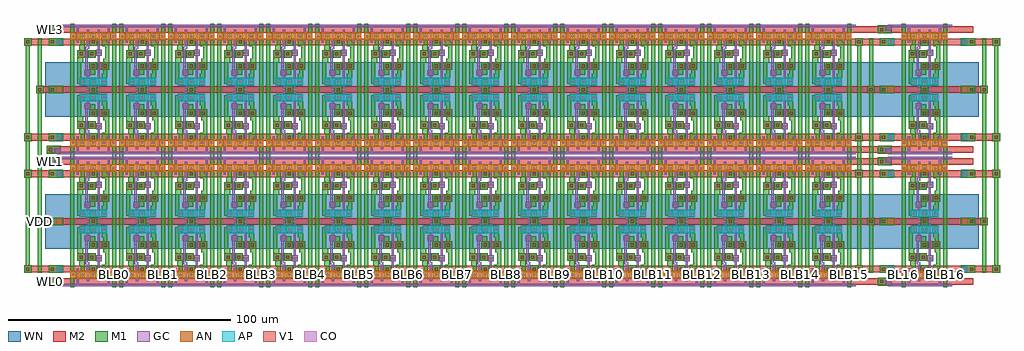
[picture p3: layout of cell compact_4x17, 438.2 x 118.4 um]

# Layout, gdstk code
import gdstk
lib = gdstk.Library(unit=1e-6, precision=1e-07)
def R(c, l, rs):  # rectangles x0, y0, x1, y1
    for r in rs: c.add(gdstk.rectangle(r[:2], r[2:], *l))
def A(c, l, x, y, w, h, nx, ny, dx, dy):  # array of equal rectangles
    R(c, l, [(x+i*dx, y+j*dy, x+i*dx+w, y+j*dy+h) for i in range(nx) for j in range(ny)])
def P(c, l, *ps):  # polygons
    for p in ps: c.add(gdstk.Polygon(p, *l))
AP = (3, 1)
AN = (3, 2)
GC = (8, 1)
CO = (11, 0)
M1 = (13, 0)
V1 = (19, 0)
M2 = (20, 0)
WN = (140, 0)

compact_core = lib.new_cell('compact_core')
R(compact_core, AP, [(3.5,18.7,15.7,22.1)])
R(compact_core, AN, [(-0.7,-1.7,19.9,1.7)])
R(compact_core, GC, [(0,-5.1,22,-4.1), (2.1,-5.1,3.1,2.9), (16.1,-5.1,17.1,2.9), (6.7,-2.9,7.7,5.6), (11.5,-2.9,12.5,23.3), (6.1,4.6,7.7,5.6), (6.1,4.6,7.1,17.9), (10.9,6.1,13.5,8.7), (11.5,6.9,12.7,7.9), (5.7,15.1,8.3,17.7), (6.1,15.9,7.5,16.9), (6.1,16.9,7.7,17.9), (6.7,16.9,7.7,23.3)])
A(compact_core, CO, 4.3, -0.5, 1, 1, 3, 2, 4.8, 20.4)
R(compact_core, CO, [(0.1,-0.5,1.1,0.5), (18.1,-0.5,19.1,0.5), (11.7,6.9,12.7,7.9), (6.5,15.9,7.5,16.9)])
P(compact_core, M1, [(8.3,-1.3),(8.3,0.8),(7.9,0.8),(7.9,4.2),(11.3,4.2),(11.3,0.8),(10.9,0.8),(10.9,-1.3)],
  [(10.9,6.1),(10.9,6.2),(7.3,6.2),(7.3,9.6),(10.7,9.6),(10.7,8.7),(13.5,8.7),(13.5,6.1)],
  [(7.9,11.6),(7.9,15.1),(5.7,15.1),(5.7,17.7),(8.3,17.7),(8.3,17.3),(10.5,17.3),(10.5,15),(11.3,15),(11.3,11.6)],
  [(3.5,-1.3),(3.5,1.3),(3.9,1.3),(3.9,4.1),(3.3,4.1),(3.3,6.2),(2.5,6.2),(2.5,21.3),(3.5,21.3),(3.5,21.7),(6.1,21.7),(6.1,19.1),(4.3,19.1),(4.3,11.9),(5.1,11.9),(5.1,9.6),(5.9,9.6),(5.9,6.2),(5.7,6.2),(5.7,1.3),(6.1,1.3),(6.1,-1.3)],
  [(13.1,-1.3),(13.1,1.3),(13.5,1.3),(13.5,4.5),(14.9,4.5),(14.9,10.1),(14.1,10.1),(14.1,11.6),(13.3,11.6),(13.3,15),(14.1,15),(14.1,16.9),(13.5,16.9),(13.5,19.1),(13.1,19.1),(13.1,21.7),(15.7,21.7),(15.7,18.7),(15.9,18.7),(15.9,15),(16.7,15),(16.7,2.7),(15.7,2.7),(15.7,-1.3)],
  [(-0.7,-5.7),(-0.7,23.9),(1.1,23.9),(1.1,1.3),(1.9,1.3),(1.9,-1.3),(1.1,-1.3),(1.1,-5.7)],
  [(18.1,-5.7),(18.1,-1.3),(17.3,-1.3),(17.3,1.3),(18.1,1.3),(18.1,23.9),(19.9,23.9),(19.9,-5.7)],
  [(8.3,19.1),(8.3,22.2),(7.9,22.2),(7.9,25.6),(11.3,25.6),(11.3,22.2),(10.9,22.2),(10.9,19.1)])
R(compact_core, V1, [(8.9,1.8,10.3,3.2), (3.5,7.2,4.9,8.6), (8.3,7.2,9.7,8.6), (8.9,12.6,10.3,14), (14.3,12.6,15.7,14), (8.9,23.2,10.3,24.6)])
R(compact_core, M2, [(0,-4.5,22,-1.5), (7.9,0.8,11.3,4.2), (0,1,22,4), (2.5,6.2,5.9,9.6), (2.5,6.2,10.7,9.6), (7.3,6.2,10.7,9.6), (7.9,11.6,11.3,15), (7.9,11.6,16.7,15), (13.3,11.6,16.7,15), (7.9,22.2,11.3,25.6), (0,22.4,22,25.4)])
R(compact_core, WN, [(-3.5,11.7,25.5,29.1)])

compact_4x17 = lib.new_cell('compact_4x17')
R(compact_4x17, AP, [(-6.9,6.9,-4.3,9.5), (366.3,6.9,368.9,9.5), (399.5,6.9,402.1,9.5), (-6.9,49.7,-4.3,52.3), (366.3,49.7,368.9,52.3), (399.5,49.7,402.1,52.3), (-6.9,66.1,-4.3,68.7), (366.3,66.1,368.9,68.7), (399.5,66.1,402.1,68.7), (-6.9,108.9,-4.3,111.5), (366.3,108.9,368.9,111.5), (399.5,108.9,402.1,111.5)])
R(compact_4x17, AN, [(-6.9,28.3,-4.3,30.9), (366.3,28.3,368.9,30.9), (399.5,28.3,402.1,30.9), (-6.9,87.5,-4.3,90.1), (366.3,87.5,368.9,90.1), (399.5,87.5,402.1,90.1)])
R(compact_4x17, GC, [(-6.9,0.6,-5.9,2.5), (-6.4,0.6,0,1.6), (366.3,0.6,367.3,2.5), (366.8,0.6,373.2,1.6), (-7.7,0.7,-5.1,3.3), (365.5,0.7,368.1,3.3), (-7.7,55.9,-5.1,58.5), (365.5,55.9,368.1,58.5), (-6.9,56.7,-5.9,58.6), (366.3,56.7,367.3,58.6), (-6.4,57.6,0,58.6), (366.8,57.6,373.2,58.6), (-6.9,59.8,-5.9,61.7), (-6.4,59.8,0,60.8), (366.3,59.8,367.3,61.7), (366.8,59.8,373.2,60.8), (-7.7,59.9,-5.1,62.5), (365.5,59.9,368.1,62.5), (-7.7,115.1,-5.1,117.7), (365.5,115.1,368.1,117.7), (-6.9,115.9,-5.9,117.8), (366.3,115.9,367.3,117.8), (-6.4,116.8,0,117.8), (366.8,116.8,373.2,117.8)])
A(compact_4x17, CO, -6.1, 7.7, 1, 1, 1, 3, 0, 21.4)
A(compact_4x17, CO, 367.1, 7.7, 1, 1, 1, 3, 0, 21.4)
A(compact_4x17, CO, 400.3, 7.7, 1, 1, 1, 3, 0, 21.4)
A(compact_4x17, CO, -6.1, 66.9, 1, 1, 1, 3, 0, 21.4)
A(compact_4x17, CO, 367.1, 66.9, 1, 1, 1, 3, 0, 21.4)
A(compact_4x17, CO, 400.3, 66.9, 1, 1, 1, 3, 0, 21.4)
R(compact_4x17, CO, [(-6.9,1.5,-5.9,2.5), (366.3,1.5,367.3,2.5), (-6.9,56.7,-5.9,57.7), (366.3,56.7,367.3,57.7), (-6.9,60.7,-5.9,61.7), (366.3,60.7,367.3,61.7), (-6.9,115.9,-5.9,116.9), (366.3,115.9,367.3,116.9)])
A(compact_4x17, M1, -10.5, 6.5, 3.4, 3.4, 1, 3, 0, 21.4)
A(compact_4x17, M1, -10.5, 6.5, 6.6, 3.4, 1, 3, 0, 21.4)
A(compact_4x17, M1, 362.7, 6.5, 3.4, 3.4, 1, 3, 0, 21.4)
A(compact_4x17, M1, 362.7, 6.5, 6.6, 3.4, 1, 3, 0, 21.4)
A(compact_4x17, M1, 399.1, 6.5, 6.6, 3.4, 1, 3, 0, 21.4)
A(compact_4x17, M1, 402.3, 6.5, 3.4, 3.4, 1, 3, 0, 21.4)
A(compact_4x17, M1, -6.9, 6.9, 2.6, 2.6, 1, 3, 0, 21.4)
A(compact_4x17, M1, 366.3, 6.9, 2.6, 2.6, 1, 3, 0, 21.4)
A(compact_4x17, M1, 399.5, 6.9, 2.6, 2.6, 1, 3, 0, 21.4)
A(compact_4x17, M1, -10.5, 65.7, 3.4, 3.4, 1, 3, 0, 21.4)
A(compact_4x17, M1, -10.5, 65.7, 6.6, 3.4, 1, 3, 0, 21.4)
A(compact_4x17, M1, 362.7, 65.7, 3.4, 3.4, 1, 3, 0, 21.4)
A(compact_4x17, M1, 362.7, 65.7, 6.6, 3.4, 1, 3, 0, 21.4)
A(compact_4x17, M1, 399.1, 65.7, 6.6, 3.4, 1, 3, 0, 21.4)
A(compact_4x17, M1, 402.3, 65.7, 3.4, 3.4, 1, 3, 0, 21.4)
A(compact_4x17, M1, -6.9, 66.1, 2.6, 2.6, 1, 3, 0, 21.4)
A(compact_4x17, M1, 366.3, 66.1, 2.6, 2.6, 1, 3, 0, 21.4)
A(compact_4x17, M1, 399.5, 66.1, 2.6, 2.6, 1, 3, 0, 21.4)
R(compact_4x17, M1, [(-11.3,0.7,-5.1,4.4), (-7.7,0.7,-5.1,3.3), (361.9,0.7,368.1,4.4), (365.5,0.7,368.1,3.3), (-11.3,1,-7.9,4.4), (361.9,1,365.3,4.4), (-21.5,6.5,-18.1,9.9), (-20.7,6.5,-18.9,111.9), (-15.3,6.5,-13.5,111.9), (351.7,6.5,355.1,9.9), (352.5,6.5,354.3,111.9), (357.9,6.5,359.7,111.9), (408.7,6.5,410.5,111.9), (413.3,6.5,416.7,9.9), (414.1,6.5,415.9,111.9), (-16.1,27.9,-12.7,31.3), (357.1,27.9,360.5,31.3), (407.9,27.9,411.3,31.3), (-21.5,49.3,-18.1,52.7), (351.7,49.3,355.1,52.7), (413.3,49.3,416.7,52.7), (-11.3,54.8,-7.9,58.2), (-11.3,54.8,-5.1,58.5), (361.9,54.8,365.3,58.2), (361.9,54.8,368.1,58.5), (-7.7,55.9,-5.1,58.5), (365.5,55.9,368.1,58.5), (-11.3,59.9,-5.1,63.6), (-7.7,59.9,-5.1,62.5), (361.9,59.9,368.1,63.6), (365.5,59.9,368.1,62.5), (-11.3,60.2,-7.9,63.6), (361.9,60.2,365.3,63.6), (-21.5,65.7,-18.1,69.1), (351.7,65.7,355.1,69.1), (413.3,65.7,416.7,69.1), (-16.1,87.1,-12.7,90.5), (357.1,87.1,360.5,90.5), (407.9,87.1,411.3,90.5), (-21.5,108.5,-18.1,111.9), (351.7,108.5,355.1,111.9), (413.3,108.5,416.7,111.9), (-11.3,114,-7.9,117.4), (-11.3,114,-5.1,117.7), (361.9,114,365.3,117.4), (361.9,114,368.1,117.7), (-7.7,115.1,-5.1,117.7), (365.5,115.1,368.1,117.7)])
A(compact_4x17, V1, -9.5, 7.5, 1.4, 1.4, 1, 3, 0, 21.4)
A(compact_4x17, V1, 363.7, 7.5, 1.4, 1.4, 1, 3, 0, 21.4)
A(compact_4x17, V1, 403.3, 7.5, 1.4, 1.4, 1, 3, 0, 21.4)
A(compact_4x17, V1, -9.5, 66.7, 1.4, 1.4, 1, 3, 0, 21.4)
A(compact_4x17, V1, 363.7, 66.7, 1.4, 1.4, 1, 3, 0, 21.4)
A(compact_4x17, V1, 403.3, 66.7, 1.4, 1.4, 1, 3, 0, 21.4)
R(compact_4x17, V1, [(-10.3,2,-8.9,3.4), (362.9,2,364.3,3.4), (-20.5,7.5,-19.1,8.9), (352.7,7.5,354.1,8.9), (414.3,7.5,415.7,8.9), (-15.1,28.9,-13.7,30.3), (358.1,28.9,359.5,30.3), (408.9,28.9,410.3,30.3), (-20.5,50.3,-19.1,51.7), (352.7,50.3,354.1,51.7), (414.3,50.3,415.7,51.7), (-10.3,55.8,-8.9,57.2), (362.9,55.8,364.3,57.2), (-10.3,61.2,-8.9,62.6), (362.9,61.2,364.3,62.6), (-20.5,66.7,-19.1,68.1), (352.7,66.7,354.1,68.1), (414.3,66.7,415.7,68.1), (-15.1,88.1,-13.7,89.5), (358.1,88.1,359.5,89.5), (408.9,88.1,410.3,89.5), (-20.5,109.5,-19.1,110.9), (352.7,109.5,354.1,110.9), (414.3,109.5,415.7,110.9), (-10.3,115,-8.9,116.4), (362.9,115,364.3,116.4)])
A(compact_4x17, M2, -10.5, 6.5, 3.4, 3.4, 1, 3, 0, 21.4)
A(compact_4x17, M2, 362.7, 6.5, 3.4, 3.4, 1, 3, 0, 21.4)
A(compact_4x17, M2, 402.3, 6.5, 3.4, 3.4, 1, 3, 0, 21.4)
A(compact_4x17, M2, -1.7, 6.7, 398.6, 3, 1, 3, 0, 21.4)
A(compact_4x17, M2, -10.5, 65.7, 3.4, 3.4, 1, 3, 0, 21.4)
A(compact_4x17, M2, 362.7, 65.7, 3.4, 3.4, 1, 3, 0, 21.4)
A(compact_4x17, M2, 402.3, 65.7, 3.4, 3.4, 1, 3, 0, 21.4)
A(compact_4x17, M2, -1.7, 65.9, 398.6, 3, 1, 3, 0, 21.4)
R(compact_4x17, M2, [(-11.3,1,-7.9,4.4), (361.9,1,365.3,4.4), (-9.6,1.2,404.8,4.2), (-21.5,6.5,-18.1,9.9), (351.7,6.5,355.1,9.9), (413.3,6.5,416.7,9.9), (-21.5,6.7,396.9,9.7), (-1.7,6.7,416.7,9.7), (-16.1,27.9,-12.7,31.3), (357.1,27.9,360.5,31.3), (407.9,27.9,411.3,31.3), (-16.1,28.1,396.9,31.1), (-1.7,28.1,411.3,31.1), (-21.5,49.3,-18.1,52.7), (351.7,49.3,355.1,52.7), (413.3,49.3,416.7,52.7), (-21.5,49.5,396.9,52.5), (-1.7,49.5,416.7,52.5), (-11.3,54.8,-7.9,58.2), (361.9,54.8,365.3,58.2), (-9.6,55,404.8,58), (-11.3,60.2,-7.9,63.6), (361.9,60.2,365.3,63.6), (-9.6,60.4,404.8,63.4), (-21.5,65.7,-18.1,69.1), (351.7,65.7,355.1,69.1), (413.3,65.7,416.7,69.1), (-21.5,65.9,396.9,68.9), (-1.7,65.9,416.7,68.9), (-16.1,87.1,-12.7,90.5), (357.1,87.1,360.5,90.5), (407.9,87.1,411.3,90.5), (-16.1,87.3,396.9,90.3), (-1.7,87.3,411.3,90.3), (-21.5,108.5,-18.1,111.9), (351.7,108.5,355.1,111.9), (413.3,108.5,416.7,111.9), (-21.5,108.7,396.9,111.7), (-1.7,108.7,416.7,111.7), (-11.3,114,-7.9,117.4), (361.9,114,365.3,117.4), (-9.6,114.2,404.8,117.2)])
R(compact_4x17, WN, [(-12,17.4,407.2,41.8), (0,17.4,407.2,41.8), (361.2,17.4,407.2,41.8), (-12,76.6,407.2,101), (0,76.6,407.2,101), (361.2,76.6,407.2,101)])
compact_4x17.add(gdstk.Reference(compact_core, (0,5.7)))
compact_4x17.add(gdstk.Reference(compact_core, (22,5.7)))
compact_4x17.add(gdstk.Reference(compact_core, (44,5.7)))
compact_4x17.add(gdstk.Reference(compact_core, (66,5.7)))
compact_4x17.add(gdstk.Reference(compact_core, (88,5.7)))
compact_4x17.add(gdstk.Reference(compact_core, (110,5.7)))
compact_4x17.add(gdstk.Reference(compact_core, (132,5.7)))
compact_4x17.add(gdstk.Reference(compact_core, (154,5.7)))
compact_4x17.add(gdstk.Reference(compact_core, (176,5.7)))
compact_4x17.add(gdstk.Reference(compact_core, (198,5.7)))
compact_4x17.add(gdstk.Reference(compact_core, (220,5.7)))
compact_4x17.add(gdstk.Reference(compact_core, (242,5.7)))
compact_4x17.add(gdstk.Reference(compact_core, (264,5.7)))
compact_4x17.add(gdstk.Reference(compact_core, (286,5.7)))
compact_4x17.add(gdstk.Reference(compact_core, (308,5.7)))
compact_4x17.add(gdstk.Reference(compact_core, (330,5.7)))
compact_4x17.add(gdstk.Reference(compact_core, (373.2,5.7)))
compact_4x17.add(gdstk.Reference(compact_core, (0,53.5), x_reflection=True))
compact_4x17.add(gdstk.Reference(compact_core, (22,53.5), x_reflection=True))
compact_4x17.add(gdstk.Reference(compact_core, (44,53.5), x_reflection=True))
compact_4x17.add(gdstk.Reference(compact_core, (66,53.5), x_reflection=True))
compact_4x17.add(gdstk.Reference(compact_core, (88,53.5), x_reflection=True))
compact_4x17.add(gdstk.Reference(compact_core, (110,53.5), x_reflection=True))
compact_4x17.add(gdstk.Reference(compact_core, (132,53.5), x_reflection=True))
compact_4x17.add(gdstk.Reference(compact_core, (154,53.5), x_reflection=True))
compact_4x17.add(gdstk.Reference(compact_core, (176,53.5), x_reflection=True))
compact_4x17.add(gdstk.Reference(compact_core, (198,53.5), x_reflection=True))
compact_4x17.add(gdstk.Reference(compact_core, (220,53.5), x_reflection=True))
compact_4x17.add(gdstk.Reference(compact_core, (242,53.5), x_reflection=True))
compact_4x17.add(gdstk.Reference(compact_core, (264,53.5), x_reflection=True))
compact_4x17.add(gdstk.Reference(compact_core, (286,53.5), x_reflection=True))
compact_4x17.add(gdstk.Reference(compact_core, (308,53.5), x_reflection=True))
compact_4x17.add(gdstk.Reference(compact_core, (330,53.5), x_reflection=True))
compact_4x17.add(gdstk.Reference(compact_core, (373.2,53.5), x_reflection=True))
compact_4x17.add(gdstk.Reference(compact_core, (0,64.9)))
compact_4x17.add(gdstk.Reference(compact_core, (22,64.9)))
compact_4x17.add(gdstk.Reference(compact_core, (44,64.9)))
compact_4x17.add(gdstk.Reference(compact_core, (66,64.9)))
compact_4x17.add(gdstk.Reference(compact_core, (88,64.9)))
compact_4x17.add(gdstk.Reference(compact_core, (110,64.9)))
compact_4x17.add(gdstk.Reference(compact_core, (132,64.9)))
compact_4x17.add(gdstk.Reference(compact_core, (154,64.9)))
compact_4x17.add(gdstk.Reference(compact_core, (176,64.9)))
compact_4x17.add(gdstk.Reference(compact_core, (198,64.9)))
compact_4x17.add(gdstk.Reference(compact_core, (220,64.9)))
compact_4x17.add(gdstk.Reference(compact_core, (242,64.9)))
compact_4x17.add(gdstk.Reference(compact_core, (264,64.9)))
compact_4x17.add(gdstk.Reference(compact_core, (286,64.9)))
compact_4x17.add(gdstk.Reference(compact_core, (308,64.9)))
compact_4x17.add(gdstk.Reference(compact_core, (330,64.9)))
compact_4x17.add(gdstk.Reference(compact_core, (373.2,64.9)))
compact_4x17.add(gdstk.Reference(compact_core, (0,112.7), x_reflection=True))
compact_4x17.add(gdstk.Reference(compact_core, (22,112.7), x_reflection=True))
compact_4x17.add(gdstk.Reference(compact_core, (44,112.7), x_reflection=True))
compact_4x17.add(gdstk.Reference(compact_core, (66,112.7), x_reflection=True))
compact_4x17.add(gdstk.Reference(compact_core, (88,112.7), x_reflection=True))
compact_4x17.add(gdstk.Reference(compact_core, (110,112.7), x_reflection=True))
compact_4x17.add(gdstk.Reference(compact_core, (132,112.7), x_reflection=True))
compact_4x17.add(gdstk.Reference(compact_core, (154,112.7), x_reflection=True))
compact_4x17.add(gdstk.Reference(compact_core, (176,112.7), x_reflection=True))
compact_4x17.add(gdstk.Reference(compact_core, (198,112.7), x_reflection=True))
compact_4x17.add(gdstk.Reference(compact_core, (220,112.7), x_reflection=True))
compact_4x17.add(gdstk.Reference(compact_core, (242,112.7), x_reflection=True))
compact_4x17.add(gdstk.Reference(compact_core, (264,112.7), x_reflection=True))
compact_4x17.add(gdstk.Reference(compact_core, (286,112.7), x_reflection=True))
compact_4x17.add(gdstk.Reference(compact_core, (308,112.7), x_reflection=True))
compact_4x17.add(gdstk.Reference(compact_core, (330,112.7), x_reflection=True))
compact_4x17.add(gdstk.Reference(compact_core, (373.2,112.7), x_reflection=True))
compact_4x17.add(gdstk.Label('WL0', (-9.6,2.7), layer=49, texttype=0))
compact_4x17.add(gdstk.Label('WL1', (-9.6,56.5), layer=49, texttype=0))
compact_4x17.add(gdstk.Label('WL2', (-9.6,61.9), layer=49, texttype=0))
compact_4x17.add(gdstk.Label('WL3', (-9.6,115.7), layer=49, texttype=0))
compact_4x17.add(gdstk.Label('VDD', (-14.4,29.6), layer=48, texttype=0))
compact_4x17.add(gdstk.Label('VSS', (-19.8,8.2), layer=48, texttype=0))
compact_4x17.add(gdstk.Label('BL0', (0.2,5.7), layer=48, texttype=0))
compact_4x17.add(gdstk.Label('BLB0', (19,5.7), layer=48, texttype=0))
compact_4x17.add(gdstk.Label('BL1', (22.2,5.7), layer=48, texttype=0))
compact_4x17.add(gdstk.Label('BLB1', (41,5.7), layer=48, texttype=0))
compact_4x17.add(gdstk.Label('BL2', (44.2,5.7), layer=48, texttype=0))
compact_4x17.add(gdstk.Label('BLB2', (63,5.7), layer=48, texttype=0))
compact_4x17.add(gdstk.Label('BL3', (66.2,5.7), layer=48, texttype=0))
compact_4x17.add(gdstk.Label('BLB3', (85,5.7), layer=48, texttype=0))
compact_4x17.add(gdstk.Label('BL4', (88.2,5.7), layer=48, texttype=0))
compact_4x17.add(gdstk.Label('BLB4', (107,5.7), layer=48, texttype=0))
compact_4x17.add(gdstk.Label('BL5', (110.2,5.7), layer=48, texttype=0))
compact_4x17.add(gdstk.Label('BLB5', (129,5.7), layer=48, texttype=0))
compact_4x17.add(gdstk.Label('BL6', (132.2,5.7), layer=48, texttype=0))
compact_4x17.add(gdstk.Label('BLB6', (151,5.7), layer=48, texttype=0))
compact_4x17.add(gdstk.Label('BL7', (154.2,5.7), layer=48, texttype=0))
compact_4x17.add(gdstk.Label('BLB7', (173,5.7), layer=48, texttype=0))
compact_4x17.add(gdstk.Label('BL8', (176.2,5.7), layer=48, texttype=0))
compact_4x17.add(gdstk.Label('BLB8', (195,5.7), layer=48, texttype=0))
compact_4x17.add(gdstk.Label('BL9', (198.2,5.7), layer=48, texttype=0))
compact_4x17.add(gdstk.Label('BLB9', (217,5.7), layer=48, texttype=0))
compact_4x17.add(gdstk.Label('BL10', (220.2,5.7), layer=48, texttype=0))
compact_4x17.add(gdstk.Label('BLB10', (239,5.7), layer=48, texttype=0))
compact_4x17.add(gdstk.Label('BL11', (242.2,5.7), layer=48, texttype=0))
compact_4x17.add(gdstk.Label('BLB11', (261,5.7), layer=48, texttype=0))
compact_4x17.add(gdstk.Label('BL12', (264.2,5.7), layer=48, texttype=0))
compact_4x17.add(gdstk.Label('BLB12', (283,5.7), layer=48, texttype=0))
compact_4x17.add(gdstk.Label('BL13', (286.2,5.7), layer=48, texttype=0))
compact_4x17.add(gdstk.Label('BLB13', (305,5.7), layer=48, texttype=0))
compact_4x17.add(gdstk.Label('BL14', (308.2,5.7), layer=48, texttype=0))
compact_4x17.add(gdstk.Label('BLB14', (327,5.7), layer=48, texttype=0))
compact_4x17.add(gdstk.Label('BL15', (330.2,5.7), layer=48, texttype=0))
compact_4x17.add(gdstk.Label('BLB15', (349,5.7), layer=48, texttype=0))
compact_4x17.add(gdstk.Label('BL16', (373.4,5.7), layer=48, texttype=0))
compact_4x17.add(gdstk.Label('BLB16', (392.2,5.7), layer=48, texttype=0))

lib.write_gds('compact_4x17.gds')
